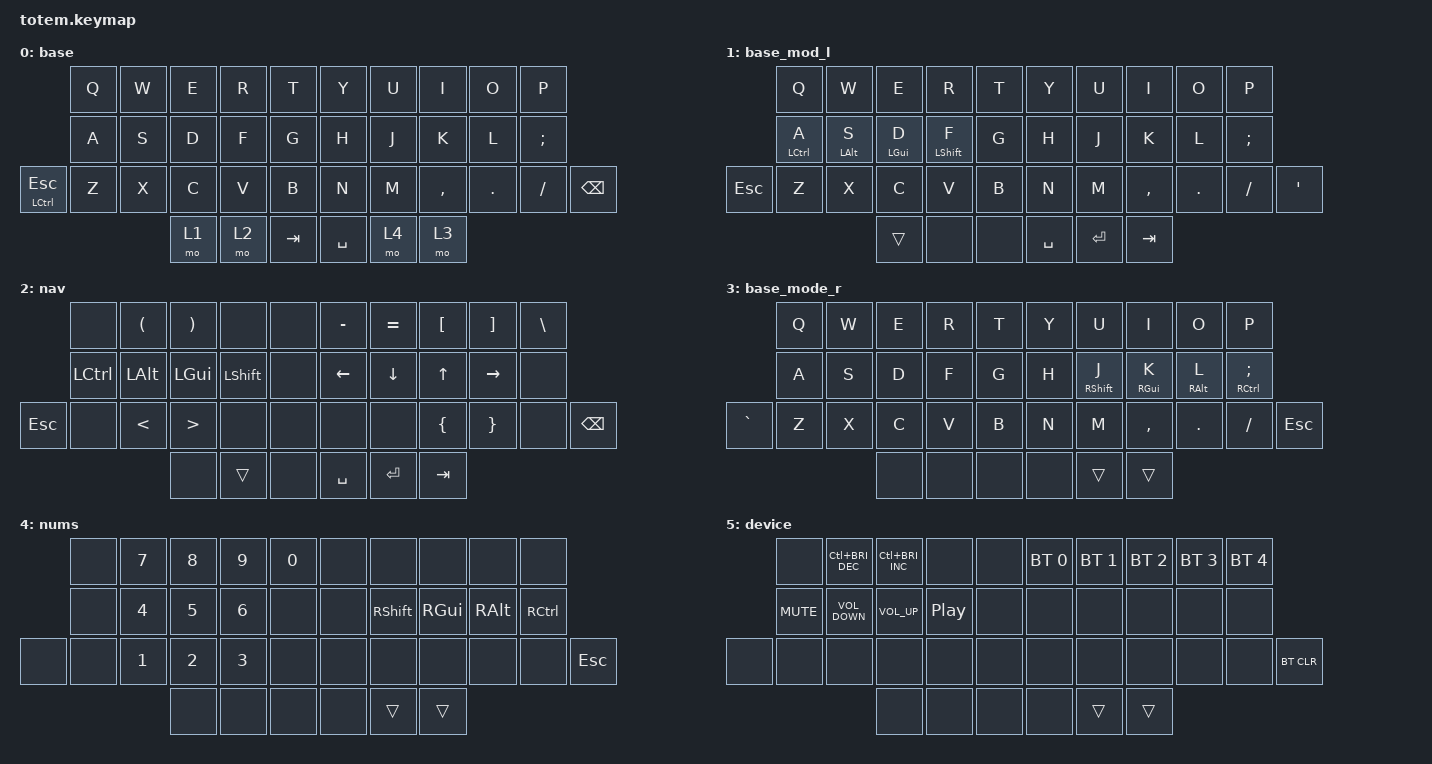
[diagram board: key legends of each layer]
//
//                                                        ▀▀▀▀▀     ▀▀▀▀▀          ▀▀█▀▀
//                                                        ▄▀▀▀▄  ▄  ▄▀▀▀▄  ▄  ▄▀▀▀▄  █  ▄▀▀▀▄
//                                                        █   █  █  █   █  █  █   █  █  █   █
//                                                         ▀▀▀   █   ▀▀▀   █   ▀▀▀   ▀   ▀▀▀
//                                                               █      ▄▄▄█▄▄▄    █   █  
//                                                               ▀      █  █  █     █▄█
//                                                             ▀▀▀▀▀    █  █  █      ▀
//                                                                      ▀  ▀  ▀
//
// ▄▄▄▄▄▄▄▄▄▄▄▄▄▄▄▄▄▄▄▄▄▄▄▄▄▄▄▄▄▄▄▄▄▄▄▄▄▄▄▄▄▄▄▄▄▄▄▄▄▄▄▄▄▄▄▄▄▄▄▄▄▄▄▄▄▄▄▄▄▄▄▄▄▄▄▄▄▄▄▄▄▄▄▄▄▄▄▄▄▄▄▄▄▄▄▄▄▄▄▄▄▄▄▄▄▄▄▄▄▄▄▄▄▄▄▄▄▄▄▄▄▄▄▄▄▄▄▄▄▄▄▄▄▄▄▄▄▄▄▄▄▄▄▄▄▄▄▄▄

#include <behaviors.dtsi>
#include <dt-bindings/zmk/bt.h>
#include <dt-bindings/zmk/keys.h>

/ {
    keymap {
        compatible = "zmk,keymap";

        base {
            bindings = <
                  &kp Q  &kp W  &kp E  &kp R  &kp T      &kp Y      &kp U  &kp I      &kp O    &kp P
                  &kp A  &kp S  &kp D  &kp F  &kp G      &kp H      &kp J  &kp K      &kp L    &kp SEMI
&mt LCTRL ESCAPE  &kp Z  &kp X  &kp C  &kp V  &kp B      &kp N      &kp M  &kp COMMA  &kp DOT  &kp FSLH  &kp BACKSPACE
                                &mo 1  &mo 2  &kp TAB    &kp SPACE  &mo 4  &mo 3
            >;
        };

        base_mod_l {
            bindings = <
            &kp Q        &kp W           &kp E           &kp R             &kp T    &kp Y      &kp U      &kp I      &kp O    &kp P
            &mt LCTRL A  &mt LEFT_ALT S  &mt LEFT_GUI D  &mt LEFT_SHIFT F  &kp G    &kp H      &kp J      &kp K      &kp L    &kp SEMI
&kp ESCAPE  &kp Z        &kp X           &kp C           &kp V             &kp B    &kp N      &kp M      &kp COMMA  &kp DOT  &kp FSLH  &kp SINGLE_QUOTE
                                         &trans          &none             &none    &kp SPACE  &kp ENTER  &kp TAB
            >;
        };

        nav {
            bindings = <
            &none      &kp LEFT_PARENTHESIS  &kp RIGHT_PARENTHESIS  &none      &none    &kp MINUS  &kp EQUAL       &kp LBKT        &kp RBKT         &kp BSLH
            &kp LCTRL  &kp LALT              &kp LGUI               &kp LSHFT  &none    &kp LEFT   &kp DOWN_ARROW  &kp UP_ARROW    &kp RIGHT        &none
&kp ESCAPE  &none      &kp LESS_THAN         &kp GREATER_THAN       &none      &none    &none      &none           &kp LEFT_BRACE  &kp RIGHT_BRACE  &none     &kp BACKSPACE
                                             &none                  &trans     &none    &kp SPACE  &kp ENTER       &kp TAB
            >;
        };

        base_mode_r {
            bindings = <
           &kp Q  &kp W  &kp E  &kp R  &kp T    &kp Y  &kp U              &kp I            &kp O            &kp P
           &kp A  &kp S  &kp D  &kp F  &kp G    &kp H  &mt RIGHT_SHIFT J  &mt RIGHT_GUI K  &mt RIGHT_ALT L  &mt RCTRL SEMI
&kp GRAVE  &kp Z  &kp X  &kp C  &kp V  &kp B    &kp N  &kp M              &kp COMMA        &kp DOT          &kp FSLH        &kp ESCAPE
                         &none  &none  &none    &none  &trans             &trans
            >;
        };

        nums {
            bindings = <
       &none  &kp N7  &kp N8  &kp N9  &kp N0    &none  &none      &none     &none     &none
       &none  &kp N4  &kp N5  &kp N6  &none     &none  &kp RSHFT  &kp RGUI  &kp RALT  &kp RCTRL
&none  &none  &kp N1  &kp N2  &kp N3  &none     &none  &none      &none     &none     &none      &kp ESCAPE
                      &none   &none   &none     &none  &trans     &trans
            >;
        };

        device {
            bindings = <
       &none       &kp LC(C_BRIGHTNESS_DEC)  &kp LC(C_BRIGHTNESS_INC)  &none             &none    &bt BT_SEL 0  &bt BT_SEL 1  &bt BT_SEL 2  &bt BT_SEL 3  &bt BT_SEL 4
       &kp K_MUTE  &kp C_VOLUME_DOWN         &kp C_VOLUME_UP           &kp C_PLAY_PAUSE  &none    &none         &none         &none         &none         &none
&none  &none       &none                     &none                     &none             &none    &none         &none         &none         &none         &none         &bt BT_CLR
                                             &none                     &none             &none    &none         &trans        &trans
            >;
        };
    };

    conditional_layers {
        compatible = "zmk,conditional-layers";

        device {
            if-layers = <3 4>;
            then-layer = <5>;
        };
    };
};
